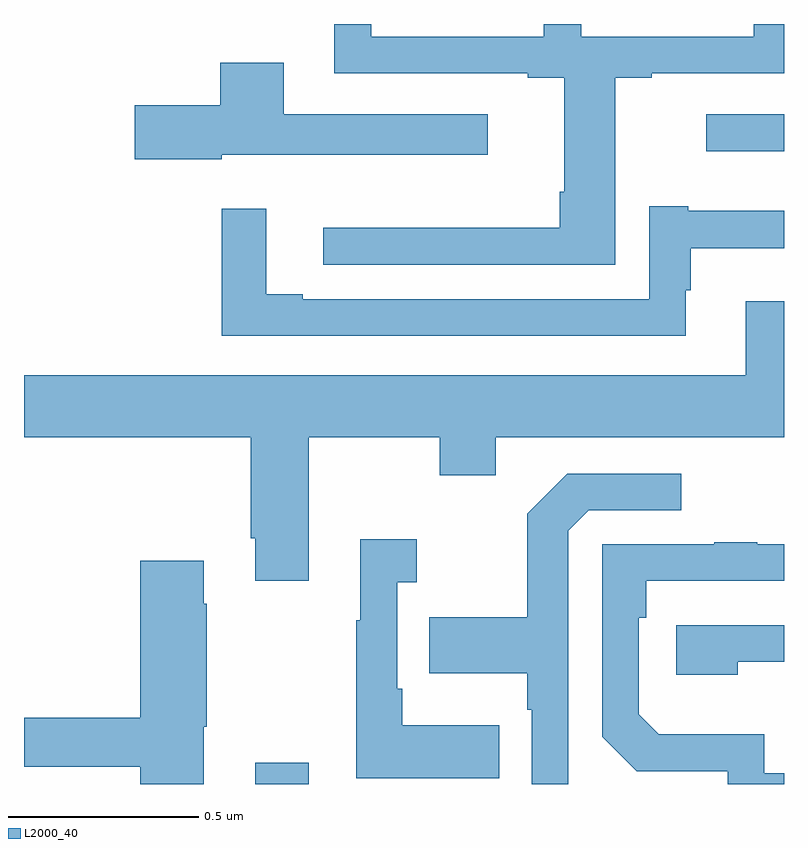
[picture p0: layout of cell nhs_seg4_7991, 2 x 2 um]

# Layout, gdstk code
import gdstk
lib = gdstk.Library(unit=1e-6, precision=1e-09)
def R(c, l, rs):  # rectangles x0, y0, x1, y1
    for r in rs: c.add(gdstk.rectangle(r[:2], r[2:], *l))
def P(c, l, *ps):  # polygons
    for p in ps: c.add(gdstk.Polygon(p, *l))
L2000_40 = (2000, 40)

nhs_seg4_7991 = lib.new_cell('nhs_seg4_7991')
R(nhs_seg4_7991, L2000_40, [(209.609,803.9,209.749,803.956), (210.795,805.565,211,805.662)])
P(nhs_seg4_7991, L2000_40, [(210.556,805.758),(210.652,805.758),(210.652,805.77),(211,805.77),(211,805.9),(210.92,805.9),(210.92,805.866),(210.466,805.866),(210.466,805.9),(210.368,805.9),(210.368,805.866),(209.914,805.866),(209.914,805.9),(209.816,805.9),(209.816,805.77),(210.326,805.77),(210.326,805.758),(210.422,805.758),(210.422,805.459),(210.41,805.459),(210.41,805.364),(209.787,805.364),(209.787,805.266),(210.556,805.266)],
  [(209.52,805.556),(210.22,805.556),(210.22,805.663),(209.683,805.663),(209.683,805.798),(209.516,805.798),(209.516,805.686),(209.292,805.686),(209.292,805.544),(209.52,805.544)],
  [(210.742,805.199),(210.754,805.199),(210.754,805.31),(211,805.31),(211,805.408),(210.748,805.408),(210.748,805.42),(210.645,805.42),(210.645,805.176),(209.734,805.176),(209.734,805.189),(209.638,805.189),(209.638,805.414),(209.521,805.414),(209.521,805.08),(210.742,805.08)],
  [(209.749,804.812),(210.094,804.812),(210.094,804.713),(210.241,804.713),(210.241,804.812),(211,804.812),(211,805.171),(210.899,805.171),(210.899,804.976),(209,804.976),(209,804.812),(209.597,804.812),(209.597,804.547),(209.609,804.547),(209.609,804.435),(209.749,804.435)],
  [(210.432,804.567),(210.486,804.621),(210.73,804.621),(210.73,804.717),(210.429,804.717),(210.324,804.611),(210.324,804.339),(210.067,804.339),(210.067,804.191),(210.324,804.191),(210.324,804.095),(210.336,804.095),(210.336,803.9),(210.432,803.9)],
  [(210.251,804.055),(209.995,804.055),(209.995,804.151),(209.982,804.151),(209.982,804.431),(210.034,804.431),(210.034,804.544),(209.885,804.544),(209.885,804.331),(209.874,804.331),(209.874,803.915),(210.251,803.915)],
  [(211,803.928),(210.948,803.928),(210.948,804.031),(210.671,804.031),(210.618,804.084),(210.618,804.338),(210.638,804.338),(210.638,804.435),(211,804.435),(211,804.531),(210.929,804.531),(210.929,804.536),(210.817,804.536),(210.817,804.531),(210.522,804.531),(210.522,804.024),(210.612,803.934),(210.852,803.934),(210.852,803.9),(211,803.9)],
  [(209.473,804.051),(209.481,804.051),(209.481,804.374),(209.473,804.374),(209.473,804.487),(209.306,804.487),(209.306,804.074),(209,804.074),(209,803.946),(209.306,803.946),(209.306,803.9),(209.473,803.9)],
  [(210.878,804.222),(211,804.222),(211,804.318),(210.717,804.318),(210.717,804.188),(210.878,804.188)])

lib.write_gds('nhs_seg4_7991.gds')
